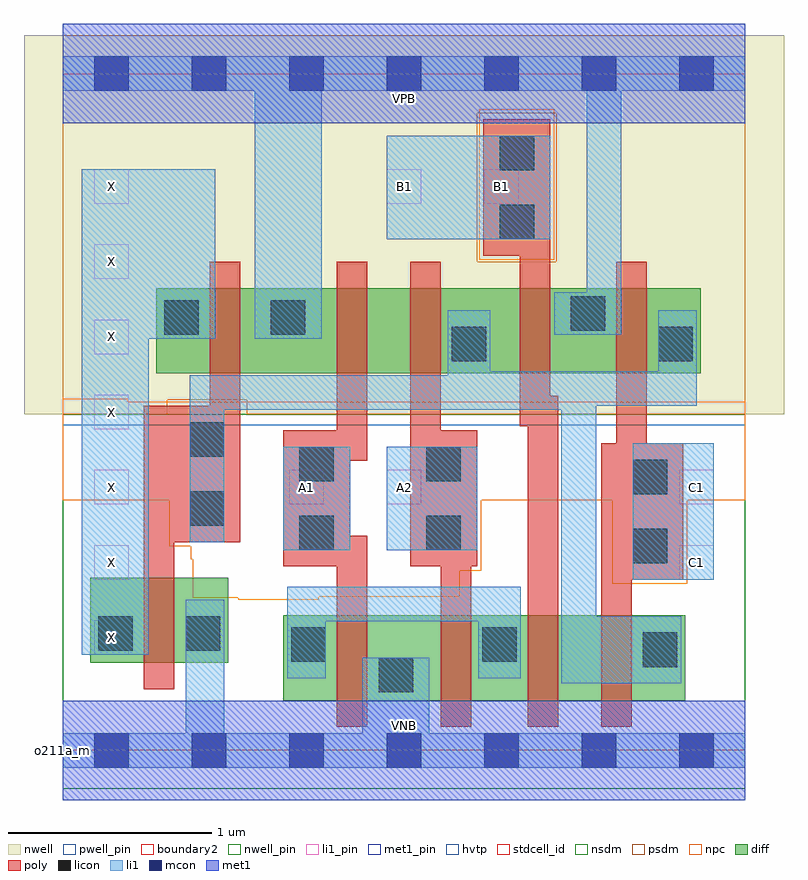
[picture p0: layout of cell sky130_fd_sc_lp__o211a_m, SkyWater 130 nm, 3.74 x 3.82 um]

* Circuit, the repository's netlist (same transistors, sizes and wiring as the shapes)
* Copyright 2020 The SkyWater PDK Authors
*
* Licensed under the Apache License, Version 2.0 (the "License");
* you may not use this file except in compliance with the License.
* You may obtain a copy of the License at
*
*     https://www.apache.org/licenses/LICENSE-2.0
*
* Unless required by applicable law or agreed to in writing, software
* distributed under the License is distributed on an "AS IS" BASIS,
* WITHOUT WARRANTIES OR CONDITIONS OF ANY KIND, either express or implied.
* See the License for the specific language governing permissions and
* limitations under the License.
*
* SPDX-License-Identifier: Apache-2.0

.SUBCKT sky130_fd_sc_lp__o211a_m A1 A2 B1 C1 VGND VNB VPB VPWR X
*.PININFO A1:I A2:I B1:I C1:I VGND:I VNB:I VPB:I VPWR:I X:O
MMPA0 VPWR A1 sndA1 VPB sky130_fd_pr__pfet_01v8_hvt m=1 w=0.42U l=0.15U mult=1
+ sa=0.265 sb=0.265 sd=0.28 area=0.063 perim=1.14
MMPA1 sndA1 A2 y VPB sky130_fd_pr__pfet_01v8_hvt m=1 w=0.42U l=0.15U mult=1 sa=0.265
+ sb=0.265 sd=0.28 area=0.063 perim=1.14
MMPB0 VPWR B1 y VPB sky130_fd_pr__pfet_01v8_hvt m=1 w=0.42U l=0.15U mult=1 sa=0.265
+ sb=0.265 sd=0.28 area=0.063 perim=1.14
MMPC0 VPWR C1 y VPB sky130_fd_pr__pfet_01v8_hvt m=1 w=0.42U l=0.15U mult=1 sa=0.265
+ sb=0.265 sd=0.28 area=0.063 perim=1.14
MMIPX X y VPWR VPB sky130_fd_pr__pfet_01v8_hvt m=1 w=0.42U l=0.15U mult=1 sa=0.265
+ sb=0.265 sd=0.28 area=0.063 perim=1.14
MMNA0 pndA A1 VGND VNB sky130_fd_pr__nfet_01v8 m=1 w=0.42U l=0.15U mult=1 sa=0.265
+ sb=0.265 sd=0.28 area=0.063 perim=1.14
MMNA1 pndA A2 VGND VNB sky130_fd_pr__nfet_01v8 m=1 w=0.42U l=0.15U mult=1 sa=0.265
+ sb=0.265 sd=0.28 area=0.063 perim=1.14
MMNB0 pndB B1 pndA VNB sky130_fd_pr__nfet_01v8 m=1 w=0.42U l=0.15U mult=1 sa=0.265
+ sb=0.265 sd=0.28 area=0.063 perim=1.14
MMNC0 y C1 pndB VNB sky130_fd_pr__nfet_01v8 m=1 w=0.42U l=0.15U mult=1 sa=0.265
+ sb=0.265 sd=0.28 area=0.063 perim=1.14
MMINX X y VGND VNB sky130_fd_pr__nfet_01v8 m=1 w=0.42U l=0.15U mult=1 sa=0.265
+ sb=0.265 sd=0.28 area=0.063 perim=1.14
.ENDS sky130_fd_sc_lp__o211a_m

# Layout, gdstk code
import gdstk
lib = gdstk.Library(unit=1e-6, precision=1e-09)
def R(c, l, rs):  # rectangles x0, y0, x1, y1
    for r in rs: c.add(gdstk.rectangle(r[:2], r[2:], *l))
def A(c, l, x, y, w, h, nx, ny, dx, dy):  # array of equal rectangles
    R(c, l, [(x+i*dx, y+j*dy, x+i*dx+w, y+j*dy+h) for i in range(nx) for j in range(ny)])
def P(c, l, *ps):  # polygons
    for p in ps: c.add(gdstk.Polygon(p, *l))
nwell_pin = (64, 16)
nwell = (64, 20)
diff = (65, 20)
poly = (66, 20)
licon = (66, 44)
li1_pin = (67, 16)
li1 = (67, 20)
mcon = (67, 44)
met1_pin = (68, 16)
met1 = (68, 20)
hvtp = (78, 44)
stdcell_id = (81, 4)
nsdm = (93, 44)
psdm = (94, 20)
npc = (95, 20)
pwell_pin = (122, 16)
boundary2 = (236, 0)

sky130_fd_sc_lp__o211a_m = lib.new_cell('sky130_fd_sc_lp__o211a_m')
R(sky130_fd_sc_lp__o211a_m, nwell_pin, [(0,3.085,3.36,3.33)])
R(sky130_fd_sc_lp__o211a_m, nwell, [(-0.19,1.655,3.55,3.52)])
R(sky130_fd_sc_lp__o211a_m, diff, [(1.085,0.245,3.065,0.665), (0.135,0.43,0.815,0.85), (0.46,1.855,3.14,2.275)])
P(sky130_fd_sc_lp__o211a_m, poly, [(0.875,2.405),(0.725,2.405),(0.725,1.695),(0.4,1.695),(0.4,0.3),(0.55,0.3),(0.55,1.025),(0.875,1.025)],
  [(1.5,1.055),(1.415,1.055),(1.415,1.425),(1.5,1.425),(1.5,2.405),(1.35,2.405),(1.35,1.575),(1.085,1.575),(1.085,0.905),(1.35,0.905),(1.35,0.115),(1.5,0.115)],
  [(2.04,1.575),(1.86,1.575),(1.86,2.405),(1.71,2.405),(1.71,0.905),(1.86,0.905),(1.86,0.115),(2.01,0.115),(2.01,0.905),(2.04,0.905)],
  [(2.44,1.745),(2.4,1.745),(2.4,3.105),(2.07,3.105),(2.07,2.435),(2.25,2.435),(2.25,1.595),(2.29,1.595),(2.29,0.115),(2.44,0.115)],
  [(3.055,1.51),(2.875,1.51),(2.875,2.405),(2.725,2.405),(2.725,1.51),(2.65,1.51),(2.65,0.115),(2.8,0.115),(2.8,0.84),(3.055,0.84)])
R(sky130_fd_sc_lp__o211a_m, licon, [(1.555,0.285,1.725,0.455), (2.855,0.41,3.025,0.58), (1.125,0.435,1.295,0.605), (2.065,0.435,2.235,0.605), (0.175,0.49,0.345,0.66), (0.605,0.49,0.775,0.66), (2.805,0.92,2.975,1.09), (1.165,0.985,1.335,1.155), (1.79,0.985,1.96,1.155), (0.625,1.105,0.795,1.275), (2.805,1.26,2.975,1.43), (1.165,1.325,1.335,1.495), (1.79,1.325,1.96,1.495), (0.625,1.445,0.795,1.615), (1.915,1.915,2.085,2.085), (2.93,1.915,3.1,2.085), (0.5,2.045,0.67,2.215), (1.025,2.045,1.195,2.215), (2.5,2.065,2.67,2.235), (2.15,2.515,2.32,2.685), (2.15,2.855,2.32,3.025)])
A(sky130_fd_sc_lp__o211a_m, li1_pin, 0.155, 0.47, 0.17, 0.17, 1, 7, 0, 0.37)
R(sky130_fd_sc_lp__o211a_m, li1_pin, [(3.035,0.84,3.205,1.01), (1.115,1.21,1.285,1.38), (1.595,1.21,1.765,1.38), (3.035,1.21,3.205,1.38), (1.595,2.69,1.765,2.86), (2.075,2.69,2.245,2.86)])
R(sky130_fd_sc_lp__o211a_m, li1, [(2.805,0.84,3.205,1.51), (1.085,0.985,1.415,1.495), (1.595,0.985,2.04,1.495), (1.595,2.515,2.4,3.025)])
P(sky130_fd_sc_lp__o211a_m, li1, [(0.945,2.025),(0.945,3.245),(0,3.245),(0,3.415),(3.36,3.415),(3.36,3.245),(2.75,3.245),(2.75,2.045),(2.42,2.045),(2.42,2.255),(2.58,2.255),(2.58,3.245),(1.275,3.245),(1.275,2.025)],
  [(1.475,0.085),(1.475,0.455),(1.805,0.455),(1.805,0.085),(3.36,0.085),(3.36,-0.085),(0,-0.085),(0,0.085),(0.605,0.085),(0.605,0.74),(0.795,0.74),(0.795,0.085)],
  [(2.625,1.695),(2.625,0.66),(3.045,0.66),(3.045,0.33),(2.455,0.33),(2.455,1.675),(0.795,1.675),(0.795,1.025),(0.625,1.025),(0.625,1.845),(1.895,1.845),(1.895,2.165),(2.105,2.165),(2.105,1.865),(2.93,1.865),(2.93,2.165),(3.12,2.165),(3.12,1.695)],
  [(0.095,0.47),(0.095,2.86),(0.75,2.86),(0.75,2.025),(0.425,2.025),(0.425,0.47)],
  [(2.045,0.635),(1.295,0.635),(1.295,0.355),(1.105,0.355),(1.105,0.805),(2.255,0.805),(2.255,0.355),(2.045,0.355)])
A(sky130_fd_sc_lp__o211a_m, mcon, 0.155, -0.085, 0.17, 0.17, 7, 2, 0.48, 3.33)
R(sky130_fd_sc_lp__o211a_m, met1_pin, [(0,0,3.36,0.245), (0,3.085,3.36,3.33)])
R(sky130_fd_sc_lp__o211a_m, met1, [(0,-0.245,3.36,0.245), (0,3.085,3.36,3.575)])
R(sky130_fd_sc_lp__o211a_m, hvtp, [(0,1.6,3.36,3.33)])
R(sky130_fd_sc_lp__o211a_m, stdcell_id, [(0,0,3.36,3.33)])
R(sky130_fd_sc_lp__o211a_m, nsdm, [(0,-0.19,3.36,1.655)])
P(sky130_fd_sc_lp__o211a_m, psdm, [(3.36,3.52),(2.43,3.52),(2.43,2.405),(2.04,2.405),(2.04,3.135),(2.43,3.135),(2.43,3.52),(0,3.52),(0,1.655),(0.515,1.655),(0.515,1.725),(0.905,1.725),(0.905,1.655),(3.36,1.655)])
R(sky130_fd_sc_lp__o211a_m, npc, [(2.05,2.415,2.42,3.155)])
P(sky130_fd_sc_lp__o211a_m, npc, [(3.36,1.715),(0.32,1.715),(0.32,1.73),(0,1.73),(0,1.23),(0.525,1.23),(0.525,1.005),(0.63,1.005),(0.63,0.94),(0.64,0.94),(0.64,0.75),(0.865,0.75),(0.865,0.74),(1.26,0.74),(1.26,0.755),(1.955,0.755),(1.955,0.885),(2.06,0.885),(2.06,1.23),(2.705,1.23),(2.705,0.82),(3.075,0.82),(3.075,1.23),(3.36,1.23)])
R(sky130_fd_sc_lp__o211a_m, pwell_pin, [(0,0,3.36,0.245)])
R(sky130_fd_sc_lp__o211a_m, boundary2, [(0,0,3.36,3.33)])
sky130_fd_sc_lp__o211a_m.add(gdstk.Label('VNB', (1.68,0.123), layer=64, texttype=59))
sky130_fd_sc_lp__o211a_m.add(gdstk.Label('VPB', (1.68,3.208), layer=64, texttype=5))
sky130_fd_sc_lp__o211a_m.add(gdstk.Label('o211a_m', (0,0), layer=83, texttype=44))
sky130_fd_sc_lp__o211a_m.add(gdstk.Label('VPWR', (1.68,3.208), layer=68, texttype=5))
sky130_fd_sc_lp__o211a_m.add(gdstk.Label('VGND', (1.68,0.123), layer=68, texttype=5))
sky130_fd_sc_lp__o211a_m.add(gdstk.Label('A2', (1.68,1.295), layer=67, texttype=5))
sky130_fd_sc_lp__o211a_m.add(gdstk.Label('C1', (3.12,0.925), layer=67, texttype=5))
sky130_fd_sc_lp__o211a_m.add(gdstk.Label('C1', (3.12,1.295), layer=67, texttype=5))
sky130_fd_sc_lp__o211a_m.add(gdstk.Label('A1', (1.2,1.295), layer=67, texttype=5))
sky130_fd_sc_lp__o211a_m.add(gdstk.Label('B1', (1.68,2.775), layer=67, texttype=5))
sky130_fd_sc_lp__o211a_m.add(gdstk.Label('B1', (2.16,2.775), layer=67, texttype=5))
sky130_fd_sc_lp__o211a_m.add(gdstk.Label('X', (0.24,0.555), layer=67, texttype=5))
sky130_fd_sc_lp__o211a_m.add(gdstk.Label('X', (0.24,0.925), layer=67, texttype=5))
sky130_fd_sc_lp__o211a_m.add(gdstk.Label('X', (0.24,1.295), layer=67, texttype=5))
sky130_fd_sc_lp__o211a_m.add(gdstk.Label('X', (0.24,1.665), layer=67, texttype=5))
sky130_fd_sc_lp__o211a_m.add(gdstk.Label('X', (0.24,2.035), layer=67, texttype=5))
sky130_fd_sc_lp__o211a_m.add(gdstk.Label('X', (0.24,2.405), layer=67, texttype=5))
sky130_fd_sc_lp__o211a_m.add(gdstk.Label('X', (0.24,2.775), layer=67, texttype=5))

lib.write_gds('sky130_fd_sc_lp__o211a_m.gds')
